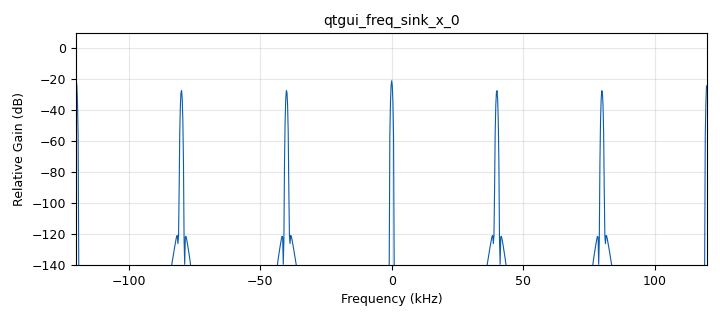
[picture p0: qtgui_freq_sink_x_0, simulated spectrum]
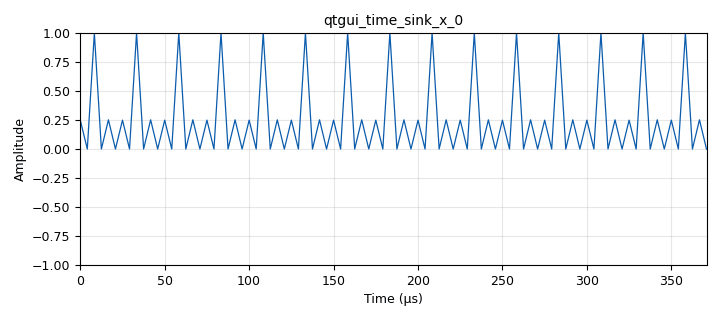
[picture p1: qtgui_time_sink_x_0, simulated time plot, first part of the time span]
options:
  parameters:
    author: uis-e3t
    generate_options: qt_gui
    id: Practica1parte3
    output_language: python
    title: multiplicacion señales
  states: {}

blocks:
- name: N
  id: variable_qtgui_range
  parameters:
    orient: Qt.Horizontal
    start: '2'
    step: '1'
    stop: '20'
    value: '2'
  states: {}
- name: fa
  id: variable
  parameters:
    value: '60000'
  states: {}
- name: fb
  id: variable
  parameters:
    value: '40000'
  states: {}
- name: fc
  id: variable
  parameters:
    value: '20000'
  states: {}
- name: samp_rate
  id: variable
  parameters:
    value: N*(fa+fb+fc)
  states: {}
- name: analog_sig_source_x_0
  id: analog_sig_source_x
  parameters:
    amp: '1'
    freq: fa
    offset: '0'
    phase: '0'
    samp_rate: samp_rate
    type: float
    waveform: analog.GR_COS_WAVE
  states: {}
- name: analog_sig_source_x_1
  id: analog_sig_source_x
  parameters:
    amp: '1'
    freq: fb
    offset: '0'
    phase: '0'
    samp_rate: samp_rate
    type: float
    waveform: analog.GR_COS_WAVE
  states: {}
- name: analog_sig_source_x_2
  id: analog_sig_source_x
  parameters:
    amp: '1'
    freq: fc
    offset: '0'
    phase: '0'
    samp_rate: samp_rate
    type: float
    waveform: analog.GR_COS_WAVE
  states: {}
- name: blocks_multiply_xx_0
  id: blocks_multiply_xx
  parameters:
    num_inputs: '3'
    type: float
  states: {}
- name: blocks_throttle_0
  id: blocks_throttle
  parameters:
    samples_per_second: samp_rate
    type: float
  states: {}
- name: qtgui_freq_sink_x_0
  id: qtgui_freq_sink_x
  parameters:
    bw: samp_rate
    fc: '0'
    fftsize: '1024'
    type: float
    wintype: firdes.WIN_BLACKMAN_hARRIS
  states: {}
- name: qtgui_time_sink_x_0
  id: qtgui_time_sink_x
  parameters:
    size: '1024'
    srate: samp_rate
    type: float
  states: {}

connections:
- [analog_sig_source_x_0, '0', blocks_throttle_0, '0']
- [analog_sig_source_x_1, '0', blocks_multiply_xx_0, '1']
- [analog_sig_source_x_2, '0', blocks_multiply_xx_0, '2']
- [blocks_multiply_xx_0, '0', qtgui_freq_sink_x_0, '0']
- [blocks_multiply_xx_0, '0', qtgui_time_sink_x_0, '0']
- [blocks_throttle_0, '0', blocks_multiply_xx_0, '0']

metadata:
  file_format: 1
